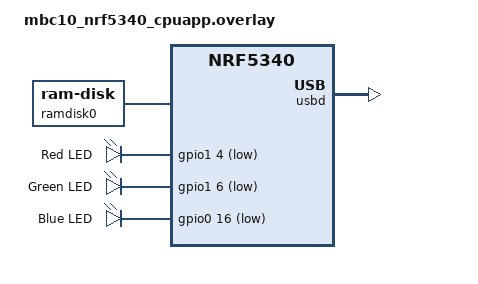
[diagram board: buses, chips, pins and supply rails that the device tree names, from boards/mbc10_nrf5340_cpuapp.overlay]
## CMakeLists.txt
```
# SPDX-License-Identifier: Apache-2.0

cmake_minimum_required(VERSION 3.20.0)
find_package(Zephyr REQUIRED HINTS $ENV{ZEPHYR_BASE})
project(capsense)

target_sources(
    app PRIVATE
        src/main.c
        src/sense.c
        src/ble.c
        src/usbms.c
        src/sample_usbd_init.c
        src/ble.c
        src/led.c
)

set(gen_dir ${ZEPHYR_BINARY_DIR}/include/generated/)

generate_inc_file_for_target(app data/LinkedIn.url ${gen_dir}/LinkedIn.url.inc)
generate_inc_file_for_target(app data/GitHub.url   ${gen_dir}/GitHub.url.inc)
generate_inc_file_for_target(app data/README.txt   ${gen_dir}/README.txt.inc)
generate_inc_file_for_target(app data/cv-2025.pdf  ${gen_dir}/cv.pdf.inc)
```

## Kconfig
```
menu "USB sample options"
	depends on USB_DEVICE_STACK_NEXT

config SAMPLE_USBD_MANUFACTURER
	string "USB device sample manufacturer string"
	default "MB"
	help
	  USB device sample manufacturer string.

config SAMPLE_USBD_PRODUCT
	string "USB device sample product string"
	default "Business Card"
	help
	  USB device sample product stringa.

config SAMPLE_USBD_PID
	hex "USB device sample Product ID"
	default 0x0001
	help
	  USB device sample Product ID.

config SAMPLE_USBD_SELF_POWERED
	bool "USB device sample Self-powered attribute"
	default y
	help
	  Set the Self-powered attribute in the sample configuration.

config SAMPLE_USBD_REMOTE_WAKEUP
	bool "USB device sample Remote Wakeup attribute"
	help
	  Set the Remote Wakeup attribute in the sample configuration.

config SAMPLE_USBD_MAX_POWER
	int "USB device sample bMaxPower value"
	default 125
	range 0 250
	help
	  bMaxPower value in the sample configuration in 2 mA units.

config SAMPLE_USBD_20_EXTENSION_DESC
	bool "Use default USB 2.0 Extension Descriptor"
	depends on USBD_BOS_SUPPORT
	help
	  Set bcdUSB value to 0201 and use default USB 2.0 Extension Descriptor.

endmenu


menu "MSC sample options"

config APP_WIPE_STORAGE
	bool "Option to clear the flash area before mounting"
	help
	  Use this to force an existing file system to be created.

choice
	prompt "Storage and file system type used by the application"
	default APP_MSC_STORAGE_NONE
	help
	  Specify the type of storage and file system.

config APP_MSC_STORAGE_NONE
	bool "Use RAM disk as block device"

config APP_MSC_STORAGE_RAM
	bool "Use RAM disk and FAT file system"
	imply FILE_SYSTEM
	imply FAT_FILESYSTEM_ELM

config APP_MSC_STORAGE_FLASH_FATFS
	bool "Use FLASH disk and FAT file system"
	imply DISK_DRIVER_FLASH
	imply FILE_SYSTEM
	imply FAT_FILESYSTEM_ELM

config APP_MSC_STORAGE_FLASH_LITTLEFS
	bool "Use FLASH disk and LittleFS"
	imply DISK_DRIVER_FLASH
	imply FILE_SYSTEM
	imply FILE_SYSTEM_LITTLEFS

config APP_MSC_STORAGE_SDCARD
	bool "Use SDHC and FAT file system"
	imply DISK_DRIVER_SDMMC
	imply FILE_SYSTEM
	imply FAT_FILESYSTEM_ELM

endchoice

config MASS_STORAGE_DISK_NAME
	default "NAND" if DISK_DRIVER_FLASH
	default "RAM" if DISK_DRIVER_RAM
	default "SD" if DISK_DRIVER_SDMMC

if DISK_DRIVER_FLASH

config FLASH_MAP
	default y

config FLASH_PAGE_LAYOUT
	default y

config FLASH_LOG_LEVEL
	default 3

if NORDIC_QSPI_NOR

config NORDIC_QSPI_NOR_FLASH_LAYOUT_PAGE_SIZE
	default 4096

endif # NORDIC_QSPI_NOR

endif # DISK_DRIVER_FLASH

endmenu

source "Kconfig.zephyr"
```

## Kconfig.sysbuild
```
# Copyright 2023-2024 Nordic Semiconductor ASA
# SPDX-License-Identifier: Apache-2.0

source "share/sysbuild/Kconfig"

config NET_CORE_BOARD
	string
	default "nrf5340dk/nrf5340/cpunet" if $(BOARD) = "nrf5340dk"
	default "nrf5340dk/nrf5340/cpunet" if $(BOARD) = "mbc10"

config NET_CORE_IMAGE_HCI_IPC
	bool "HCI IPC image on network core"
	default y
	depends on NET_CORE_BOARD != ""
```

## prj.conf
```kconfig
CONFIG_GPIO=y

CONFIG_LOG=y
CONFIG_SERIAL=y
CONFIG_CONSOLE=y
CONFIG_CONSOLE_SUBSYS=y
CONFIG_CONSOLE_GETLINE=y
CONFIG_UART_LINE_CTRL=y
CONFIG_UART_CONSOLE=y
CONFIG_STDOUT_CONSOLE=y
CONFIG_BOOT_BANNER=n
CONFIG_NCS_BOOT_BANNER=n

# ------ Bluetooth LE

CONFIG_BT=y
CONFIG_BT_MAX_CONN=3
CONFIG_BT_MAX_PAIRED=3
CONFIG_BT_SMP=y
CONFIG_BT_ATT_TX_COUNT=5
CONFIG_BT_PERIPHERAL=y
CONFIG_BT_DEVICE_NAME="MB Business Card"
CONFIG_BT_DEVICE_APPEARANCE=961
CONFIG_BT_LOG_LEVEL_WRN=y

CONFIG_BT_GATT_AUTO_SEC_REQ=n
CONFIG_BT_AUTO_PHY_UPDATE=n
CONFIG_BT_CONN_CTX=y

CONFIG_BT_HIDS=y
CONFIG_BT_HIDS_MAX_CLIENT_COUNT=3
CONFIG_BT_HIDS_DEFAULT_PERM_RW_AUTHEN=y
CONFIG_BT_HIDS_LOG_LEVEL_INF=y
CONFIG_BT_GATT_UUID16_POOL_SIZE=40
CONFIG_BT_GATT_CHRC_POOL_SIZE=20

CONFIG_SYSTEM_WORKQUEUE_STACK_SIZE=2048

CONFIG_SETTINGS=y
CONFIG_SETTINGS_NVS=y
CONFIG_BT_SETTINGS=y
CONFIG_NVS=y
CONFIG_FLASH=y
CONFIG_FLASH_PAGE_LAYOUT=y
CONFIG_FLASH_MAP=y

# ------ USBD virtual com

CONFIG_USB_DEVICE_STACK_NEXT=y
CONFIG_USBD_LOG_LEVEL_OFF=y
# CONFIG_USBD_CDC_ACM_CLASS=y
# CONFIG_UDC_BUF_POOL_SIZE=4096
# CONFIG_UDC_BUF_COUNT=32
CONFIG_UDC_DRIVER_LOG_LEVEL_OFF=y
# CONFIG_CDC_ACM_SERIAL_INITIALIZE_AT_BOOT=y
# CONFIG_CDC_ACM_SERIAL_PID=0x0004
# CONFIG_CDC_ACM_SERIAL_PRODUCT_STRING="MB Business Card"

CONFIG_LOG_BACKEND_UART=y

# ------ USBD mass storage

CONFIG_USBD_MSC_CLASS=y
CONFIG_USBD_MSC_LUNS_PER_INSTANCE=3

CONFIG_SAMPLE_USBD_PID=0x0008
CONFIG_SAMPLE_USBD_PRODUCT="MB Business Card"

CONFIG_HWINFO=y

CONFIG_DISK_ACCESS=y
CONFIG_DISK_DRIVERS=y

CONFIG_FILE_SYSTEM=y
CONFIG_FAT_FILESYSTEM_ELM=y
CONFIG_FS_FATFS_LFN=y

CONFIG_FPROTECT=n
```

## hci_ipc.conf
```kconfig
CONFIG_BT_EXT_ADV=y

CONFIG_BT_CTLR_PHY_CODED=y
CONFIG_BT_CTLR_ADV_DATA_LEN_MAX=36
CONFIG_BT_CTLR_TX_PWR_MINUS_8=y
CONFIG_BT_RX_STACK_SIZE=8192
```

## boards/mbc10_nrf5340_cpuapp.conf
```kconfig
CONFIG_PARTITION_MANAGER_ENABLED=n

CONFIG_APP_MSC_STORAGE_RAM=y

CONFIG_COMMON_LIBC_MALLOC_ARENA_SIZE=16384

CONFIG_CLOCK_CONTROL_NRF_K32SRC_RC=n
CONFIG_CLOCK_CONTROL_NRF_K32SRC_XTAL=y

CONFIG_LOG_BACKEND_RTT=y
CONFIG_RTT_CONSOLE=y
CONFIG_USE_SEGGER_RTT=y
CONFIG_SEGGER_RTT_BUFFER_SIZE_UP=8192
CONFIG_LOG_BUFFER_SIZE=8192
CONFIG_BT_RX_STACK_SIZE=8192
```

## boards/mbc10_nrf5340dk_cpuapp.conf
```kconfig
CONFIG_PARTITION_MANAGER_ENABLED=n

CONFIG_APP_MSC_STORAGE_RAM=y

CONFIG_COMMON_LIBC_MALLOC_ARENA_SIZE=16384

CONFIG_LOG_BACKEND_RTT=y
CONFIG_RTT_CONSOLE=y
CONFIG_USE_SEGGER_RTT=y
CONFIG_SEGGER_RTT_BUFFER_SIZE_UP=8192
CONFIG_LOG_BUFFER_SIZE=8192
```

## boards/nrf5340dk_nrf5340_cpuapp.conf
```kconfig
CONFIG_PARTITION_MANAGER_ENABLED=n

CONFIG_APP_MSC_STORAGE_RAM=y

CONFIG_COMMON_LIBC_MALLOC_ARENA_SIZE=16384
```

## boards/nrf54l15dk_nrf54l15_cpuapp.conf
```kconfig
CONFIG_CLOCK_CONTROL=y
CONFIG_CLOCK_CONTROL_NRF=y
CONFIG_CLOCK_CONTROL_NRF_K32SRC_RC=y
CONFIG_NFCT_PINS_AS_GPIOS=y

CONFIG_PARTITION_MANAGER_ENABLED=n

CONFIG_UART_CONSOLE=y
CONFIG_LOG_BACKEND_UART=y
CONFIG_LOG_DEFAULT_LEVEL=3
CONFIG_LOG=y
```

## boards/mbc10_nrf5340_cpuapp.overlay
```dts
/ {
	aliases {
		red-led = &led_r;
		green-led = &led_g;
		blue-led = &led_b;
	};

	chosen {
		zephyr,console = &cdc_acm_uart0;
        zephyr,bt-hci = &bt_hci_ipc0;
	};

	ramdisk0 {
		compatible = "zephyr,ram-disk";
		disk-name = "RAM";
		sector-size = <512>;
		sector-count = <192>;
	};

    leds {
		compatible = "gpio-leds";

		led_r: led_r {
			gpios = <&gpio1 4 GPIO_ACTIVE_LOW>;
			label = "Red LED";
		};

		led_g: led_g {
			gpios = <&gpio1 6 GPIO_ACTIVE_LOW>;
			label = "Green LED";
		};

		led_b: led_b {
			gpios = <&gpio0 16 GPIO_ACTIVE_LOW>;
			label = "Blue LED";
		};
	};
};

&vregmain {
	regulator-initial-mode = <NRF5X_REG_MODE_DCDC>;
};

&vregradio {
	regulator-initial-mode = <NRF5X_REG_MODE_DCDC>;
};

&vregh {
	status = "disabled";
};

&lfxo {
	load-capacitors = "internal";
	load-capacitance-picofarad = <7>;
};

&gpiote {
	status = "okay";
};

&gpio0 {
	status = "okay";
};

&gpio1 {
	status = "okay";
};

zephyr_udc0: &usbd {
	compatible = "nordic,nrf-usbd";
	status = "okay";
};

&zephyr_udc0 {
	cdc_acm_uart0: cdc_acm_uart0 {
		compatible = "zephyr,cdc-acm-uart";
	};
};

&nfct {
    status = "disabled";
};

&uicr {
	nfct-pins-as-gpios;
};
```

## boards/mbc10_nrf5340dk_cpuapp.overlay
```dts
/ {
	aliases {
		red-led = &led_r;
		green-led = &led_g;
		blue-led = &led_b;
	};

	chosen {
		zephyr,console = &cdc_acm_uart0;
	};

	ramdisk0 {
		compatible = "zephyr,ram-disk";
		disk-name = "RAM";
		sector-size = <512>;
		sector-count = <192>;
	};

	leds {
		compatible = "gpio-leds";

		led_r: led_r {
			gpios = <&gpio1 4 GPIO_ACTIVE_LOW>;
			label = "Red LED";
		};

		led_g: led_g {
			gpios = <&gpio1 6 GPIO_ACTIVE_LOW>;
			label = "Green LED";
		};

		led_b: led_b {
			gpios = <&gpio0 16 GPIO_ACTIVE_LOW>;
			label = "Blue LED";
		};
	};
};

&zephyr_udc0 {
	cdc_acm_uart0: cdc_acm_uart0 {
		compatible = "zephyr,cdc-acm-uart";
	};
};
```

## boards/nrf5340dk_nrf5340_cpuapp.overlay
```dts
/ {
	aliases {
		red-led = &led0;
		green-led = &led1;
		blue-led = &led3;
	};

	chosen {
		zephyr,console = &cdc_acm_uart0;
	};

	ramdisk0 {
		compatible = "zephyr,ram-disk";
		disk-name = "RAM";
		sector-size = <512>;
		sector-count = <192>;
	};
};

&zephyr_udc0 {
	cdc_acm_uart0: cdc_acm_uart0 {
		compatible = "zephyr,cdc-acm-uart";
	};
};
```

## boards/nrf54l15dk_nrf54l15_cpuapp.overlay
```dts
/ {
	aliases {
		led-pin = &led1;
	};
};
```

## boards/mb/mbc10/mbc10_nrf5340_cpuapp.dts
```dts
/dts-v1/;
#include <nordic/nrf5340_cpuapp_qkaa.dtsi>
#include "mbc10-pinctrl.dtsi"

/ {
	model = "Business Card v1.0 (CPUAPP)";
	compatible = "mb,mbc10-cpuapp";

	chosen {
		zephyr,sram = &sram0_image;
		zephyr,flash = &flash0;
		zephyr,code-partition = &slot0_partition;
		zephyr,sram-secure-partition = &sram0_s;
		zephyr,sram-non-secure-partition = &sram0_ns;
	};
};

#include "mbc10-cpuapp_partitioning.dtsi"
#include "mbc10-shared_sram.dtsi"
```

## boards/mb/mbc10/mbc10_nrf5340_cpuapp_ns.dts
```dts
/dts-v1/;
#include <nordic/nrf5340_cpuappns_qkaa.dtsi>
#include "mbc10-pinctrl.dtsi"

/ {
	model = "Business Card v1.0 (CPUAPP Non-Secure)";
	compatible = "mb,mbc10-cpuapp-ns";

	chosen {
		zephyr,sram = &sram0_ns;
		zephyr,flash = &flash0;
		zephyr,code-partition = &slot0_ns_partition;
	};
};

#include "mbc10-cpuapp_partitioning.dtsi"
#include "mbc10-shared_sram.dtsi"
```

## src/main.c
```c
/**
 * @file    main.c
 * @author  Matthijs Bakker
 * @date    2026-01-27
 * @brief   Application entry point
 */

#include <zephyr/kernel.h>
#include <zephyr/drivers/gpio.h>
#include <zephyr/logging/log.h>

#include "ble.h"
#include "led.h"
#include "sense.h"
#include "usbms.h"

#define CALIBRATION_RUNS            8
#define CALIBRATION_THRESHOLD       1.7
#define DEBOUNCING_THRESHOLD        4
#define MAX_SAMPLE_RETRIES          5

typedef struct {
	int analog_input;
	ble_hid_key_t emulated_key;

    uint32_t threshold;
    uint8_t debouncing_streak;
    bool pressed;
} touchpad_data_t;

static touchpad_data_t touchpad_data[] = {
#if CONFIG_BOARD_MBC10
	{
		.analog_input = COMP_PSEL_PSEL_AnalogInput0,
		.emulated_key = BLE_HID_KEY_PLAYPAUSE,
	},
	{
		.analog_input = COMP_PSEL_PSEL_AnalogInput3,
		.emulated_key = BLE_HID_KEY_VOLUME_DOWN,
	},
	{
		.analog_input = COMP_PSEL_PSEL_AnalogInput1,
		.emulated_key = BLE_HID_KEY_VOLUME_UP,
	},
	{
		.analog_input = COMP_PSEL_PSEL_AnalogInput5,
		.emulated_key = BLE_HID_KEY_MUTE,
	},
#else
	{
		.analog_input = COMP_PSEL_PSEL_AnalogInput3,
		.emulated_key = BLE_HID_KEY_VOLUME_UP,
	},
	{
		.analog_input = COMP_PSEL_PSEL_AnalogInput0,
		.emulated_key = BLE_HID_KEY_VOLUME_DOWN,
	},
	{
		.analog_input = COMP_PSEL_PSEL_AnalogInput1,
		.emulated_key = BLE_HID_KEY_PLAYPAUSE,
	},
#endif
};

static void sampling_thread(void);

K_THREAD_DEFINE(sampling_thread_id, 4096, sampling_thread, NULL, NULL, NULL, 10, 0, -1);

LOG_MODULE_REGISTER(main);

static void touchpad_state_changed(int index, const touchpad_data_t *data)
{
	static ble_key_input_t input = {0};

	input.button = data->emulated_key;
	input.button_pressed = data->pressed;

	if (data->pressed) {
		input.pressed_mask |= data->emulated_key;
	} else {
		input.pressed_mask &= ~(data->emulated_key);
	}

	LOG_INF("State change %d %02x", input.button, input.pressed_mask);

	ble_send_key_input(&input);

	if (data->pressed) {
		led_blink(LED_INDEX_BLUE, LED_SHORT_BLINK_DURATION);
	}
}

static void sampling_thread(void)
{
	uint32_t delta_time;
	bool touch_detected;
	int calibration_rounds_remaining = CALIBRATION_RUNS;
	int i;
	int retry = 0;
	int err;

	LOG_INF("Start sampling thread");

	while (true) {
		NRF_POWER->TASKS_CONSTLAT = 0;

		k_sleep(K_MSEC(9));
		
		NRF_POWER->TASKS_CONSTLAT = 1;

		for (i = 0; i < ARRAY_SIZE(touchpad_data); ++i) {
			err = sense_pin(touchpad_data[i].analog_input, &delta_time);

			if (delta_time < 20 || delta_time > 2000) {
				err = 69;
			}

			if (err) {
				if (retry++ < MAX_SAMPLE_RETRIES) {
					i -= 1;
					continue;
				}

				LOG_ERR("Failed to sample analog pin, err %d", err);
			}

			retry = 0;

			if (calibration_rounds_remaining) {
				touchpad_data[i].threshold += delta_time;
			} else {
				touch_detected = (delta_time > touchpad_data[i].threshold);

				if (touchpad_data[i].pressed != touch_detected) {
					LOG_DBG("Debounce %d %s %d", i, touch_detected ? "up" : "down", touchpad_data[i].debouncing_streak);
					
					if (++touchpad_data[i].debouncing_streak > DEBOUNCING_THRESHOLD) {
						touchpad_data[i].debouncing_streak = 0;
						touchpad_data[i].pressed = touch_detected;
						touchpad_state_changed(i, &touchpad_data[i]);
					}
				} else {
					touchpad_data[i].debouncing_streak = 0;
				}
			}
		}

		if (calibration_rounds_remaining > 0) {
			--calibration_rounds_remaining;

			// We just finished the last calibration round.
			// Calculate the arithmetic mean of the measured values.
			if (!calibration_rounds_remaining) {
				
				for (i = 0; i < ARRAY_SIZE(touchpad_data); ++i) {
					uint32_t prev = touchpad_data[i].threshold;
					touchpad_data[i].threshold /= CALIBRATION_RUNS;
					touchpad_data[i].threshold *= CALIBRATION_THRESHOLD;
					LOG_INF("Threshold of touchpad %d prev=%d set at %d", i, prev, touchpad_data[i].threshold);

					if (touchpad_data[i].threshold < 0 || touchpad_data[i].threshold > 2000) {
						touchpad_data[i].threshold = 250;
					}
				}
			}
		}
	}
}

int main(void)
{
	int err;

	LOG_INF("Start main");

	err = usbms_init();

	if (err) {
		LOG_ERR("Failed to init USB MS, err %d", err);
	}

	err = ble_init();

	if (err) {
		LOG_ERR("Failed to init BLE, err %d", err);
	}

	err = sense_init();

	if (!err) {
		k_thread_start(sampling_thread_id);
	} else {
		LOG_ERR("Failed to init sampling thread, err %d", err);
	}
	
	LOG_INF("Startup complete");

	led_blink(LED_INDEX_GREEN, LED_NORMAL_BLINK_DURATION);
}
```

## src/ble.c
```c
/**
 * @file    ble.c
 * @author  Matthijs Bakker
 * @date    2026-02-03
 * @brief   BLE Keyboard HID implementation
 * 
 * Adapted from 'sdk-nrf/peripheral_hids_keyboard', added support for media keys.
 */

#include "ble.h"

#include <zephyr/kernel.h>
#include <zephyr/logging/log.h>
#include <zephyr/settings/settings.h>

#include <zephyr/bluetooth/bluetooth.h>
#include <zephyr/bluetooth/hci.h>
#include <zephyr/bluetooth/conn.h>
#include <zephyr/bluetooth/uuid.h>
#include <zephyr/bluetooth/gatt.h>

#include <bluetooth/services/hids.h>

#include "led.h"

#define BASE_USB_HID_SPEC_VERSION   		0x0101
#define INPUT_REPORT_KEYS_MAX_LEN 			(1 + 1 + 6) // modifiers + reserved + keys[6]
#define INPUT_REPORT_CONSUMER_MAX_LEN		1
#define OUTPUT_REPORT_MAX_LEN            	1

// Report IDs
#define INPUT_REP_KEYS_REF_ID            	1
#define INPUT_REP_CONSUMER_REF_ID           2
#define OUTPUT_REP_KEYS_REF_ID           	0

// Internal report table indexes
#define OUTPUT_REP_KEYS_IDX					0
#define INPUT_REP_KEYS_IDX					0
#define INPUT_REP_CONSUMER_IDX				1

static const struct bt_data ad[] = {
	BT_DATA_BYTES(BT_DATA_GAP_APPEARANCE,
		      (CONFIG_BT_DEVICE_APPEARANCE >> 0) & 0xff,
		      (CONFIG_BT_DEVICE_APPEARANCE >> 8) & 0xff),
	BT_DATA_BYTES(BT_DATA_FLAGS, (BT_LE_AD_GENERAL | BT_LE_AD_NO_BREDR)),
	BT_DATA_BYTES(BT_DATA_UUID16_ALL, BT_UUID_16_ENCODE(BT_UUID_HIDS_VAL)),
};

static const struct bt_data sd[] = {
	BT_DATA(BT_DATA_NAME_COMPLETE, CONFIG_BT_DEVICE_NAME, (sizeof(CONFIG_BT_DEVICE_NAME) - 1)),
};

static struct conn_mode {
	struct bt_conn *conn;
	bool in_boot_mode;
} conn_mode[CONFIG_BT_HIDS_MAX_CLIENT_COUNT];

static struct k_work pairing_work;

struct pairing_data_mitm {
	struct bt_conn *conn;
	unsigned int passkey;
};

static bool alt_mode = false;

K_MSGQ_DEFINE(mitm_queue, sizeof(struct pairing_data_mitm), CONFIG_BT_HIDS_MAX_CLIENT_COUNT, 4);
K_MSGQ_DEFINE(input_queue, sizeof(ble_key_input_t), 10, 1);

BT_HIDS_DEF(hids_obj, OUTPUT_REPORT_MAX_LEN, INPUT_REPORT_KEYS_MAX_LEN, INPUT_REPORT_CONSUMER_MAX_LEN);

LOG_MODULE_REGISTER(ble);

static void advertising_start(void)
{
	const struct bt_le_adv_param *adv_param = BT_LE_ADV_PARAM(
						BT_LE_ADV_OPT_CONN,
						BT_GAP_ADV_FAST_INT_MIN_1,
						BT_GAP_ADV_FAST_INT_MAX_1,
						NULL);
	int err;

	err = bt_le_adv_start(adv_param, ad, ARRAY_SIZE(ad), sd, ARRAY_SIZE(sd));

	if (err) {
		if (err == -EALREADY) {
			LOG_INF("Advertising continued");
		} else {
			LOG_ERR("Advertising failed to start (err %d)", err);
		}

		return;
	}

	LOG_INF("Advertising successfully started");
}

static void pairing_process(struct k_work *work)
{
	struct pairing_data_mitm pairing_data;
	char addr[BT_ADDR_LE_STR_LEN];
	int err;

	err = k_msgq_peek(&mitm_queue, &pairing_data);

	if (err) {
		return;
	}

	bt_addr_le_to_str(bt_conn_get_dst(pairing_data.conn), addr, sizeof(addr));

	LOG_INF("Passkey for %s: %06u", addr, pairing_data.passkey);
	LOG_INF("Hold VOLUME UP + VOLUME DOWN simultaneously for 3 seconds to pair.");

	led_blink(LED_INDEX_GREEN, K_FOREVER);
}

static void connected(struct bt_conn *conn, uint8_t err)
{
	char addr[BT_ADDR_LE_STR_LEN];

	bt_addr_le_to_str(bt_conn_get_dst(conn), addr, sizeof(addr));

	if (err) {
		LOG_ERR("Failed to connect to %s 0x%02x %s", addr, err, bt_hci_err_to_str(err));
		return;
	}

	LOG_INF("Connected %s", addr);

	err = bt_hids_connected(&hids_obj, conn);

	if (err) {
		LOG_ERR("Failed to notify HID service about connection");
		return;
	}

	for (size_t i = 0; i < CONFIG_BT_HIDS_MAX_CLIENT_COUNT; i++) {
		if (!conn_mode[i].conn) {
			conn_mode[i].conn = conn;
			conn_mode[i].in_boot_mode = false;
			break;
		}
	}

	for (size_t i = 0; i < CONFIG_BT_HIDS_MAX_CLIENT_COUNT; i++) {
		if (!conn_mode[i].conn) {
			advertising_start();
			return;
		}
	}
}

static void disconnected(struct bt_conn *conn, uint8_t reason)
{
	bool is_any_dev_connected = false;
	char addr[BT_ADDR_LE_STR_LEN];
	int err;

	bt_addr_le_to_str(bt_conn_get_dst(conn), addr, sizeof(addr));

	LOG_INF("Disconnected from %s, reason 0x%02x %s", addr, reason, bt_hci_err_to_str(reason));

	err = bt_hids_disconnected(&hids_obj, conn);

	if (err) {
		LOG_ERR("Failed to notify HID service about disconnection");
	}

	for (size_t i = 0; i < CONFIG_BT_HIDS_MAX_CLIENT_COUNT; i++) {
		if (conn_mode[i].conn == conn) {
			conn_mode[i].conn = NULL;
		} else {
			if (conn_mode[i].conn) {
				is_any_dev_connected = true;
			}
		}
	}

	advertising_start();
}

static void security_changed(struct bt_conn *conn, bt_security_t level, enum bt_security_err err)
{
	char addr[BT_ADDR_LE_STR_LEN];

	bt_addr_le_to_str(bt_conn_get_dst(conn), addr, sizeof(addr));

	if (err) {
		LOG_ERR("Security failed: %s level %u err %d %s",
			    addr, level, err, bt_security_err_to_str(err));
	}

	LOG_INF("Security changed: %s level %u", addr, level);
}

BT_CONN_CB_DEFINE(conn_callbacks) = {
	.connected = connected,
	.disconnected = disconnected,
	.security_changed = security_changed,
};

static void hids_outp_rep_handler(struct bt_hids_rep *rep, struct bt_conn *conn, bool write)
{
	char addr[BT_ADDR_LE_STR_LEN];

	if (!write) {
		LOG_INF("Output report read");
		return;
	}

	bt_addr_le_to_str(bt_conn_get_dst(conn), addr, sizeof(addr));
	LOG_INF("Output report has been received %s", addr);
}

static void hids_boot_kb_outp_rep_handler(struct bt_hids_rep *rep, struct bt_conn *conn, bool write)
{
	char addr[BT_ADDR_LE_STR_LEN];

	if (!write) {
		LOG_INF("Output report read");
		return;
	}

	bt_addr_le_to_str(bt_conn_get_dst(conn), addr, sizeof(addr));
	LOG_INF("Boot Keyboard Output report has been received %s", addr);
}

static void hids_pm_evt_handler(enum bt_hids_pm_evt evt, struct bt_conn *conn)
{
	char addr[BT_ADDR_LE_STR_LEN];
	size_t i;

	for (i = 0; i < CONFIG_BT_HIDS_MAX_CLIENT_COUNT; i++) {
		if (conn_mode[i].conn == conn) {
			break;
		}
	}

	if (i >= CONFIG_BT_HIDS_MAX_CLIENT_COUNT) {
		LOG_ERR("Cannot find connection handle when processing PM");
		return;
	}

	bt_addr_le_to_str(bt_conn_get_dst(conn), addr, sizeof(addr));

	switch (evt) {
		case BT_HIDS_PM_EVT_BOOT_MODE_ENTERED:
			LOG_INF("Boot mode entered %s", addr);
			conn_mode[i].in_boot_mode = true;
			break;

		case BT_HIDS_PM_EVT_REPORT_MODE_ENTERED:
			LOG_INF("Report mode entered %s", addr);
			conn_mode[i].in_boot_mode = false;
			break;
		default:
			break;
	}
}

static void hid_init(void)
{
	struct bt_hids_init_param    hids_init_obj = { 0 };
	struct bt_hids_inp_rep       *hids_inp_rep;
	struct bt_hids_outp_feat_rep *hids_outp_rep;
	int err;

	static const uint8_t report_map[] = {
		0x05, 0x01,       /* Usage Page (Generic Desktop) */
		0x09, 0x06,       /* Usage (Keyboard) */
		0xA1, 0x01,       /* Collection (Application) */

		0x85, 0x01,       /* Report ID 1: Keyboard */
		0x05, 0x07,       /* Usage Page (Key Codes) */
		0x19, 0xe0,       /* Usage Minimum (224) */
		0x29, 0xe7,       /* Usage Maximum (231) */
		0x15, 0x00,       /* Logical Minimum (0) */
		0x25, 0x01,       /* Logical Maximum (1) */
		0x75, 0x01,       /* Report Size (1) */
		0x95, 0x08,       /* Report Count (8) */
		0x81, 0x02,       /* Input (Data, Variable, Absolute) */

		0x95, 0x01,       /* Report Count (1) */
		0x75, 0x08,       /* Report Size (8) */
		0x81, 0x01,       /* Input (Constant) reserved byte(1) */

		0x95, 0x06,       /* Report Count (6) */
		0x75, 0x08,       /* Report Size (8) */
		0x15, 0x00,       /* Logical Minimum (0) */
		0x25, 0x65,       /* Logical Maximum (101) */
		
		0x05, 0x07,       /* Usage Page (Key codes) */
		0x19, 0x00,       /* Usage Minimum (0) */
		0x29, 0x65,       /* Usage Maximum (101) */
		0x81, 0x00,       /* Input (Data, Array) Key array(6 bytes) */

		0x95, 0x05,       /* Report Count (5) */
		0x75, 0x01,       /* Report Size (1) */
		0x05, 0x08,       /* Usage Page (Page# for LEDs) */
		0x19, 0x01,       /* Usage Minimum (1) */
		0x29, 0x05,       /* Usage Maximum (5) */
		0x91, 0x02,       /* Output (Data, Variable, Absolute), */
		0x95, 0x01,       /* Report Count (1) */
		0x75, 0x03,       /* Report Size (3) */
		0x91, 0x01,       /* Output (Data, Variable, Absolute), */

		0xC0,             /* End Collection (Application) */

		0x05, 0x0C,        // Usage Page (Consumer)
		0x09, 0x01,        // Usage (Consumer Control)
		0xA1, 0x01,        // Collection (Application)

		0x85, 0x02,        /* Report ID 2: Consumer */
		0x15, 0x00,        //   Logical Minimum (0)
		0x25, 0x01,        //   Logical Maximum (1)

		0x09, 0xE2,        //   Usage (Mute)
		0x09, 0xCD,        //   Usage (Play/Pause)
		0x09, 0xE9,        //   Usage (Volume Increment)
		0x09, 0xEA,        //   Usage (Volume Decrement)

		0x75, 0x01,        //   Report Size (1)
		0x95, 0x04,        //   Report Count (4)
		0x81, 0x02,        //   Input (Data,Var,Abs)

		0x75, 0x01,        //   Report Size (1)
		0x95, 0x04,        //   Report Count (4)
		0x81, 0x01,        //   Input (Const,Arr,Abs) ; padding

		0xC0               // End Collection
	};

	hids_init_obj.rep_map.data = report_map;
	hids_init_obj.rep_map.size = sizeof(report_map);

	hids_init_obj.info.bcd_hid = BASE_USB_HID_SPEC_VERSION;
	hids_init_obj.info.b_country_code = 0x00;
	hids_init_obj.info.flags = (BT_HIDS_REMOTE_WAKE | BT_HIDS_NORMALLY_CONNECTABLE);

	hids_inp_rep = &hids_init_obj.inp_rep_group_init.reports[INPUT_REP_KEYS_IDX];
	hids_inp_rep->size = INPUT_REPORT_KEYS_MAX_LEN;
	hids_inp_rep->id = INPUT_REP_KEYS_REF_ID;
	hids_init_obj.inp_rep_group_init.cnt++;

	hids_inp_rep = &hids_init_obj.inp_rep_group_init.reports[INPUT_REP_CONSUMER_IDX];
	hids_inp_rep->size = INPUT_REPORT_CONSUMER_MAX_LEN;
	hids_inp_rep->id = INPUT_REP_CONSUMER_REF_ID;
	hids_init_obj.inp_rep_group_init.cnt++;

	hids_outp_rep = &hids_init_obj.outp_rep_group_init.reports[OUTPUT_REP_KEYS_IDX];
	hids_outp_rep->size = OUTPUT_REPORT_MAX_LEN;
	hids_outp_rep->id = OUTPUT_REP_KEYS_REF_ID;
	hids_outp_rep->handler = hids_outp_rep_handler;
	hids_init_obj.outp_rep_group_init.cnt++;

	hids_init_obj.is_kb = true;
	hids_init_obj.boot_kb_outp_rep_handler = hids_boot_kb_outp_rep_handler;
	hids_init_obj.pm_evt_handler = hids_pm_evt_handler;

	err = bt_hids_init(&hids_obj, &hids_init_obj);
	__ASSERT(err == 0, "HIDS initialization failed");
}

static void auth_passkey_display(struct bt_conn *conn, unsigned int passkey)
{
	char addr[BT_ADDR_LE_STR_LEN];

	bt_addr_le_to_str(bt_conn_get_dst(conn), addr, sizeof(addr));

	LOG_INF("Passkey for %s: %06u", addr, passkey);
}

static void auth_passkey_confirm(struct bt_conn *conn, unsigned int passkey)
{
	int err;

	struct pairing_data_mitm pairing_data;

	pairing_data.conn    = bt_conn_ref(conn);
	pairing_data.passkey = passkey;

	err = k_msgq_put(&mitm_queue, &pairing_data, K_NO_WAIT);

	if (err) {
		LOG_ERR("Pairing queue is full. Purge previous data.");
	}

	/* In the case of multiple pairing requests, trigger
	 * pairing confirmation which needed user interaction only
	 * once to avoid display information about all devices at
	 * the same time. Passkey confirmation for next devices will
	 * be proccess from queue after handling the earlier ones.
	 */
	if (k_msgq_num_used_get(&mitm_queue) == 1) {
		k_work_submit(&pairing_work);
	}
}

static void auth_cancel(struct bt_conn *conn)
{
	char addr[BT_ADDR_LE_STR_LEN];

	bt_addr_le_to_str(bt_conn_get_dst(conn), addr, sizeof(addr));

	LOG_INF("Pairing cancelled: %s", addr);
}

static void pairing_complete(struct bt_conn *conn, bool bonded)
{
	char addr[BT_ADDR_LE_STR_LEN];

	bt_addr_le_to_str(bt_conn_get_dst(conn), addr, sizeof(addr));

	LOG_INF("Pairing completed: %s, bonded: %d", addr, bonded);
	
	led_blink(LED_INDEX_GREEN, LED_LONG_BLINK_DURATION);
}

static void pairing_failed(struct bt_conn *conn, enum bt_security_err reason)
{
	char addr[BT_ADDR_LE_STR_LEN];
	struct pairing_data_mitm pairing_data;

	if (k_msgq_peek(&mitm_queue, &pairing_data) != 0) {
		return;
	}

	if (pairing_data.conn == conn) {
		bt_conn_unref(pairing_data.conn);
		k_msgq_get(&mitm_queue, &pairing_data, K_NO_WAIT);
	}

	bt_addr_le_to_str(bt_conn_get_dst(conn), addr, sizeof(addr));

	LOG_ERR("Pairing failed conn: %s, reason %d %s",
		    addr, reason, bt_security_err_to_str(reason));

	
	led_blink(LED_INDEX_GREEN, K_NO_WAIT);
	led_blink(LED_INDEX_RED,   LED_LONG_BLINK_DURATION);
}

static struct bt_conn_auth_cb conn_auth_callbacks = {
	.passkey_display = auth_passkey_display,
	.passkey_confirm = auth_passkey_confirm,
	.cancel = auth_cancel,
};

static struct bt_conn_auth_info_cb conn_auth_info_callbacks = {
	.pairing_complete = pairing_complete,
	.pairing_failed = pairing_failed
};

static int send_report_to_clients(uint8_t report_index, const uint8_t *data, size_t len)
{
	int i, err;

	for (i = 0; i < CONFIG_BT_HIDS_MAX_CLIENT_COUNT; i++) {
		if (conn_mode[i].conn) {
			if (conn_mode[i].in_boot_mode) {
				LOG_WRN("Connection %d in boot mode, skipping media report", i);
				continue;
			}

			err = bt_hids_inp_rep_send(&hids_obj, conn_mode[i].conn, report_index, data, len, NULL);

			if (err) {
				LOG_ERR("Key report send error: %d", err);
				return err;
			}
		}
	}

	return 0;
}

static int navigation_report_send(ble_hid_key_t pressed_keys)
{
	uint8_t data[INPUT_REPORT_KEYS_MAX_LEN] = {0};

	if (pressed_keys & BLE_HID_KEY_VOLUME_UP) {
		data[2] = 0x52; // up
	}
	
	if (pressed_keys & BLE_HID_KEY_VOLUME_DOWN) {
		data[3] = 0x51; // down
	}
	
	if (pressed_keys & BLE_HID_KEY_PLAYPAUSE) {
		data[4] = 0x50; // left
	}
	
	if (pressed_keys & BLE_HID_KEY_MUTE) {
		data[5] = 0x4f; // right
	}
	
	LOG_HEXDUMP_INF(data, INPUT_REPORT_KEYS_MAX_LEN, "Navigation report data");

	return send_report_to_clients(INPUT_REP_KEYS_IDX, data, sizeof(data));
}

static int media_report_send(ble_hid_key_t pressed_keys)
{
	uint8_t data[INPUT_REPORT_CONSUMER_MAX_LEN];

	data[0] = pressed_keys;
	
	LOG_HEXDUMP_INF(data, INPUT_REPORT_CONSUMER_MAX_LEN, "Media controls report");

	return send_report_to_clients(INPUT_REP_CONSUMER_IDX, data, sizeof(data));
}

static void num_comp_reply(bool accept)
{
	struct pairing_data_mitm pairing_data;
	struct bt_conn *conn;

	if (k_msgq_get(&mitm_queue, &pairing_data, K_NO_WAIT) != 0) {
		return;
	}

	conn = pairing_data.conn;

	if (accept) {
		bt_conn_auth_passkey_confirm(conn);
		LOG_INF("Numeric Match, conn %p", conn);
	} else {
		bt_conn_auth_cancel(conn);
		LOG_INF("Numeric Reject, conn %p", conn);
	}

	bt_conn_unref(pairing_data.conn);

	if (k_msgq_num_used_get(&mitm_queue)) {
		k_work_submit(&pairing_work);
	}
}

static void input_thread(void)
{
    ble_key_input_t input;
	k_timeout_t timeout = K_FOREVER;
	int err;

    while (true) {
        err = k_msgq_get(&input_queue, &input, timeout);

		timeout = K_FOREVER;

		if (err == -EAGAIN) {
			if (input.pressed_mask == BLE_HID_KEY_MUTE) {
				LOG_WRN("Switch to %s mode", alt_mode ? "media" : "nav");

				alt_mode ^= 1;

				navigation_report_send(0);
				media_report_send(0);

				led_blink(LED_INDEX_GREEN, LED_SHORT_BLINK_DURATION);
			} else {
				LOG_WRN("Accept pairing");

				if (k_msgq_num_used_get(&mitm_queue)) {
					num_comp_reply(true);
				}
			}
			continue;
		}

		if (input.pressed_mask == (BLE_HID_KEY_VOLUME_UP | BLE_HID_KEY_VOLUME_DOWN)) {
			timeout = K_SECONDS(3);
			continue;
		}

		if (input.pressed_mask == BLE_HID_KEY_MUTE) {
			timeout = K_SECONDS(3);
			LOG_ERR("Await timeout");
		}

		if (alt_mode) {
			navigation_report_send(input.pressed_mask);
		} else {
			media_report_send(input.pressed_mask);
		}
    }
}

int ble_init(void)
{
	int err;

	err = bt_conn_auth_cb_register(&conn_auth_callbacks);

	if (err) {
		LOG_ERR("Failed to register authorization callbacks.");
		return 0;
	}

	err = bt_conn_auth_info_cb_register(&conn_auth_info_callbacks);

	if (err) {
		LOG_ERR("Failed to register authorization info callbacks.");
		return 0;
	}

	hid_init();

	err = bt_enable(NULL);

	if (err) {
		LOG_ERR("Bluetooth init failed (err %d)", err);
		return 0;
	}

	LOG_INF("Bluetooth initialized");

	if (IS_ENABLED(CONFIG_SETTINGS)) {
		settings_load();
	}

	advertising_start();

	k_work_init(&pairing_work, pairing_process);

	return 0;
}

void ble_send_key_input(const ble_key_input_t *input)
{
    k_msgq_put(&input_queue, input, K_NO_WAIT);
}

K_THREAD_DEFINE(input_thread_id, 2048, input_thread, NULL, NULL, NULL, 14, 0, 0);
```

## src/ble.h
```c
/**
 * @file    ble.h
 * @author  Matthijs Bakker
 * @date    2026-02-03
 * @brief   BLE Keyboard HID implementation
 */

#include <stdint.h>
#include <stdbool.h>

/**
 * Keyboard key index.
 * 
 * The positions of these bits must match their positions in the HID report (see ble.c).
 */
typedef enum {
    BLE_HID_KEY_MUTE        = (1 << 0),
    BLE_HID_KEY_PLAYPAUSE   = (1 << 1),
    BLE_HID_KEY_VOLUME_UP   = (1 << 2),
    BLE_HID_KEY_VOLUME_DOWN = (1 << 3),
} ble_hid_key_t;

/**
 * Message which indicates which key was most recently pressed/released,
 * and the mask of all currently pressed keys.
 */
typedef struct {
    int button;
    bool button_pressed;
    ble_hid_key_t pressed_mask;
} ble_key_input_t;

/**
 * Initialize the Bluetooth subsystem + keyboard HIDS.
 * 
 * @returns 0 on success,
 *          >0 on failure
 */
int ble_init(void);

/**
 * Send the updated key input to all connected clients.
 * 
 * @param input An input object with the latest pressed/released
 *              key and a map of all currently pressed keys.
 */
void ble_send_key_input(const ble_key_input_t *input);
```

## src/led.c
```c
/**
 * @file    led.c
 * @author  Matthijs Bakker
 * @date    2026-02-07
 * @brief   LEDs control
 */

#include "led.h"

#include <zephyr/logging/log.h>

#define LED_DEFINE(name, _index) \
    K_MSGQ_DEFINE(name ## _led_msgq, sizeof(k_timeout_t), 10, 1); \
    static const led_data_t name ## _led_data = { \
        .gpio_spec = GPIO_DT_SPEC_GET(DT_ALIAS(name ## _led), gpios), \
        .index = _index, \
        .msgq = & name ## _led_msgq, \
    }; \
    K_THREAD_DEFINE(name ## _led_thread_id, 4096, led_thread, &name ## _led_data, NULL, NULL, 12, 0, 1);

static const led_data_t *led_data[__LED_INDEX_MAX];

LOG_MODULE_REGISTER(led);

static void led_thread(void *data_p)
{
    const led_data_t *data = data_p;
    k_timeout_t timeout, blink_rate = K_FOREVER;
    int err;

    led_data[data->index] = data;

    if (!gpio_is_ready_dt(&data->gpio_spec)) {
        LOG_ERR("LED %d thread: gpio not ready", data->index);
        k_sleep(K_FOREVER);
    }

    err = gpio_pin_configure_dt(&data->gpio_spec, GPIO_OUTPUT_INACTIVE);

    if (err < 0) {
        LOG_ERR("Failed to configure led %d gpio, err %d", data->index, err);
        k_sleep(K_FOREVER);
    }

    while (true) {
        err = k_msgq_get(data->msgq, &timeout, blink_rate);

        if (err && err != -EAGAIN) {
            LOG_ERR("Failed to get from msgq, err %d", err);
            continue;
        }

        if (err != -EAGAIN) {
            switch (timeout.ticks) {
                case 0:
                    blink_rate = K_FOREVER;
                    continue;
                case SYS_FOREVER_MS:
                    blink_rate = timeout = LED_SHORT_BLINK_DURATION;
                    break;
                default:
                    blink_rate = K_FOREVER;
                    break;
            }
        }

        gpio_pin_set_dt(&data->gpio_spec, 1);

        k_sleep(timeout);
        
        gpio_pin_set_dt(&data->gpio_spec, 0);
    }
}

int led_blink(led_index_t index, k_timeout_t timeout)
{
    const led_data_t *data;
    int i;

    for (i = 0; i < ARRAY_SIZE(led_data); ++i) {
        data = led_data[i];

        if (data->index == index) {
            k_msgq_put(data->msgq, &timeout, K_NO_WAIT);
            return 0;
        }
    }

    LOG_ERR("No LED found with index %d", index);

    return 1;
}

LED_DEFINE(red,   LED_INDEX_RED);
LED_DEFINE(green, LED_INDEX_GREEN);
LED_DEFINE(blue,  LED_INDEX_BLUE);
```

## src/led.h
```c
/**
 * @file    led.h
 * @author  Matthijs Bakker
 * @date    2026-02-07
 * @brief   LEDs control
 */

#include <zephyr/kernel.h>
#include <zephyr/drivers/gpio.h>

#define LED_SHORT_BLINK_DURATION    K_MSEC(100)
#define LED_NORMAL_BLINK_DURATION   K_MSEC(500)
#define LED_LONG_BLINK_DURATION     K_MSEC(2000)

typedef enum {
	LED_INDEX_RED,
	LED_INDEX_GREEN,
	LED_INDEX_BLUE,

    __LED_INDEX_MAX,
} led_index_t;

typedef struct {
	const struct gpio_dt_spec gpio_spec;
    struct k_msgq *msgq;
	led_index_t index;
} led_data_t;

int led_blink(led_index_t index, k_timeout_t timeout);
```

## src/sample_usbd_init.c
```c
/*
 * Copyright (c) 2023 Nordic Semiconductor ASA
 *
 * SPDX-License-Identifier: Apache-2.0
 */

#include <stdint.h>

#include <zephyr/device.h>
#include <zephyr/usb/usbd.h>
#include <zephyr/usb/bos.h>

#include <zephyr/logging/log.h>
LOG_MODULE_REGISTER(usbd_sample_config);

#define ZEPHYR_PROJECT_USB_VID		0x2fe3

/* By default, do not register the USB DFU class DFU mode instance. */
static const char *const blocklist[] = {
	"dfu_dfu",
	NULL,
};

/* doc device instantiation start */
/*
 * Instantiate a context named sample_usbd using the default USB device
 * controller, the Zephyr project vendor ID, and the sample product ID.
 * Zephyr project vendor ID must not be used outside of Zephyr samples.
 */
USBD_DEVICE_DEFINE(sample_usbd,
		   DEVICE_DT_GET(DT_NODELABEL(zephyr_udc0)),
		   ZEPHYR_PROJECT_USB_VID, CONFIG_SAMPLE_USBD_PID);
/* doc device instantiation end */

/* doc string instantiation start */
USBD_DESC_LANG_DEFINE(sample_lang);
USBD_DESC_MANUFACTURER_DEFINE(sample_mfr, CONFIG_SAMPLE_USBD_MANUFACTURER);
USBD_DESC_PRODUCT_DEFINE(sample_product, CONFIG_SAMPLE_USBD_PRODUCT);
IF_ENABLED(CONFIG_HWINFO, (USBD_DESC_SERIAL_NUMBER_DEFINE(sample_sn)));

/* doc string instantiation end */

USBD_DESC_CONFIG_DEFINE(fs_cfg_desc, "FS Configuration");
USBD_DESC_CONFIG_DEFINE(hs_cfg_desc, "HS Configuration");

/* doc configuration instantiation start */
static const uint8_t attributes = (IS_ENABLED(CONFIG_SAMPLE_USBD_SELF_POWERED) ?
				   USB_SCD_SELF_POWERED : 0) |
				  (IS_ENABLED(CONFIG_SAMPLE_USBD_REMOTE_WAKEUP) ?
				   USB_SCD_REMOTE_WAKEUP : 0);

/* Full speed configuration */
USBD_CONFIGURATION_DEFINE(sample_fs_config,
			  attributes,
			  CONFIG_SAMPLE_USBD_MAX_POWER, &fs_cfg_desc);

/* High speed configuration */
USBD_CONFIGURATION_DEFINE(sample_hs_config,
			  attributes,
			  CONFIG_SAMPLE_USBD_MAX_POWER, &hs_cfg_desc);
/* doc configuration instantiation end */

#if CONFIG_SAMPLE_USBD_20_EXTENSION_DESC
/*
 * This does not yet provide valuable information, but rather serves as an
 * example, and will be improved in the future.
 */
static const struct usb_bos_capability_lpm bos_cap_lpm = {
	.bLength = sizeof(struct usb_bos_capability_lpm),
	.bDescriptorType = USB_DESC_DEVICE_CAPABILITY,
	.bDevCapabilityType = USB_BOS_CAPABILITY_EXTENSION,
	.bmAttributes = 0UL,
};

USBD_DESC_BOS_DEFINE(sample_usbext, sizeof(bos_cap_lpm), &bos_cap_lpm);
#endif

static void sample_fix_code_triple(struct usbd_context *uds_ctx,
				   const enum usbd_speed speed)
{
	/* Always use class code information from Interface Descriptors */
	if (IS_ENABLED(CONFIG_USBD_CDC_ACM_CLASS) ||
	    IS_ENABLED(CONFIG_USBD_CDC_ECM_CLASS) ||
	    IS_ENABLED(CONFIG_USBD_CDC_NCM_CLASS) ||
	    IS_ENABLED(CONFIG_USBD_MIDI2_CLASS) ||
	    IS_ENABLED(CONFIG_USBD_AUDIO2_CLASS) ||
	    IS_ENABLED(CONFIG_USBD_VIDEO_CLASS)) {
		/*
		 * Class with multiple interfaces have an Interface
		 * Association Descriptor available, use an appropriate triple
		 * to indicate it.
		 */
		usbd_device_set_code_triple(uds_ctx, speed,
					    USB_BCC_MISCELLANEOUS, 0x02, 0x01);
	} else {
		usbd_device_set_code_triple(uds_ctx, speed, 0, 0, 0);
	}
}

struct usbd_context *sample_usbd_setup_device(usbd_msg_cb_t msg_cb)
{
	int err;

	/* doc add string descriptor start */
	err = usbd_add_descriptor(&sample_usbd, &sample_lang);
	if (err) {
		LOG_ERR("Failed to initialize language descriptor (%d)", err);
		return NULL;
	}

	err = usbd_add_descriptor(&sample_usbd, &sample_mfr);
	if (err) {
		LOG_ERR("Failed to initialize manufacturer descriptor (%d)", err);
		return NULL;
	}

	err = usbd_add_descriptor(&sample_usbd, &sample_product);
	if (err) {
		LOG_ERR("Failed to initialize product descriptor (%d)", err);
		return NULL;
	}

	IF_ENABLED(CONFIG_HWINFO, (
		err = usbd_add_descriptor(&sample_usbd, &sample_sn);
	))
	if (err) {
		LOG_ERR("Failed to initialize SN descriptor (%d)", err);
		return NULL;
	}
	/* doc add string descriptor end */

	if (USBD_SUPPORTS_HIGH_SPEED &&
	    usbd_caps_speed(&sample_usbd) == USBD_SPEED_HS) {
		err = usbd_add_configuration(&sample_usbd, USBD_SPEED_HS,
					     &sample_hs_config);
		if (err) {
			LOG_ERR("Failed to add High-Speed configuration");
			return NULL;
		}

		err = usbd_register_all_classes(&sample_usbd, USBD_SPEED_HS, 1,
						blocklist);
		if (err) {
			LOG_ERR("Failed to add register classes");
			return NULL;
		}

		sample_fix_code_triple(&sample_usbd, USBD_SPEED_HS);
	}

	/* doc configuration register start */
	err = usbd_add_configuration(&sample_usbd, USBD_SPEED_FS,
				     &sample_fs_config);
	if (err) {
		LOG_ERR("Failed to add Full-Speed configuration");
		return NULL;
	}
	/* doc configuration register end */

	/* doc functions register start */
	err = usbd_register_all_classes(&sample_usbd, USBD_SPEED_FS, 1, blocklist);
	if (err) {
		LOG_ERR("Failed to add register classes, err %d", err);
		return NULL;
	}
	/* doc functions register end */

	sample_fix_code_triple(&sample_usbd, USBD_SPEED_FS);
	usbd_self_powered(&sample_usbd, attributes & USB_SCD_SELF_POWERED);

	if (msg_cb != NULL) {
		/* doc device init-and-msg start */
		err = usbd_msg_register_cb(&sample_usbd, msg_cb);
		if (err) {
			LOG_ERR("Failed to register message callback");
			return NULL;
		}
		/* doc device init-and-msg end */
	}

#if CONFIG_SAMPLE_USBD_20_EXTENSION_DESC
	(void)usbd_device_set_bcd_usb(&sample_usbd, USBD_SPEED_FS, 0x0201);
	(void)usbd_device_set_bcd_usb(&sample_usbd, USBD_SPEED_HS, 0x0201);

	err = usbd_add_descriptor(&sample_usbd, &sample_usbext);
	if (err) {
		LOG_ERR("Failed to add USB 2.0 Extension Descriptor");
		return NULL;
	}
#endif

	return &sample_usbd;
}

struct usbd_context *sample_usbd_init_device(usbd_msg_cb_t msg_cb)
{
	int err;

	if (sample_usbd_setup_device(msg_cb) == NULL) {
		return NULL;
	}

	/* doc device init start */
	err = usbd_init(&sample_usbd);
	if (err) {
		LOG_ERR("Failed to initialize device support");
		return NULL;
	}
	/* doc device init end */

	return &sample_usbd;
}
```

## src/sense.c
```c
/**
 * @file    sense.c
 * @author  Matthijs Bakker
 * @date    2026-02-02
 * @brief   
 */

#include <zephyr/kernel.h>
#include <zephyr/logging/log.h>
#include <nrfx.h>

K_SEM_DEFINE(sample_ready_sem, 0, 1);

LOG_MODULE_REGISTER(sense);

ISR_DIRECT_DECLARE(sample_ready_isr)
{
	if (NRF_COMP->EVENTS_CROSS) {
		NRF_COMP->EVENTS_CROSS = 0;

		LOG_DBG("Cross");

		k_sem_give(&sample_ready_sem);
		
		ISR_DIRECT_PM();
		return 1;
	}
	
	ISR_DIRECT_PM();
	return 0;
}

static void timer_overrun_isr(void *arg)
{
	ARG_UNUSED(arg);

	if (NRF_TIMER1->EVENTS_COMPARE[1]) {
		NRF_TIMER1->EVENTS_COMPARE[1] = 0;
		NRF_TIMER1->TASKS_STOP = 1;
		
		LOG_ERR("Timer overrun!");
	}
}

int sense_pin(int pin, uint32_t *value)
{
    int err;

    NRF_TIMER1->TASKS_STOP = 1;
	NRF_TIMER1->TASKS_CLEAR = 1;
	
	NRF_DPPIC->TASKS_CHG[0].EN = 1;

	NRF_COMP->PSEL = (pin << COMP_PSEL_PSEL_Pos);
	NRF_COMP->ENABLE = (COMP_ENABLE_ENABLE_Enabled << COMP_ENABLE_ENABLE_Pos);
	NRF_COMP->TASKS_START = 1;

	// Await two COMP crossings before the wave period is in timer capture compare register

	err = k_sem_take(&sample_ready_sem, K_MSEC(5));

    if (err) {
        LOG_DBG("Failed to capture first crossing, err %d", err);
        return 2;
    }

	err = k_sem_take(&sample_ready_sem, K_MSEC(5));

    if (err) {
        LOG_ERR("Failed to capture second crossing, err %d", err);
        return 3;
    }

	*value = NRF_TIMER1->CC[0];

    return 0;
}

int sense_init(void)
{
	NRF_COMP->REFSEL   = (COMP_REFSEL_REFSEL_VDD << COMP_REFSEL_REFSEL_Pos);
    NRF_COMP->TH       = (5 << COMP_TH_THDOWN_Pos) | (60 << COMP_TH_THUP_Pos);
    NRF_COMP->MODE     = (COMP_MODE_MAIN_SE << COMP_MODE_MAIN_Pos) | (COMP_MODE_SP_High << COMP_MODE_SP_Pos);
    NRF_COMP->ISOURCE  = (COMP_ISOURCE_ISOURCE_Ien10mA << COMP_ISOURCE_ISOURCE_Pos);
    NRF_COMP->INTENSET = COMP_INTEN_CROSS_Msk;

	NRF_TIMER1->PRESCALER   = 0;
    NRF_TIMER1->BITMODE     = (TIMER_BITMODE_BITMODE_16Bit << TIMER_BITMODE_BITMODE_Pos);
    NRF_TIMER1->CC[1]       = 1000*16;
    NRF_TIMER1->SHORTS      = (TIMER_SHORTS_COMPARE1_CLEAR_Msk | TIMER_SHORTS_COMPARE1_STOP_Msk);
    NRF_TIMER1->INTENSET    = TIMER_INTENSET_COMPARE1_Msk;
    NRF_TIMER1->TASKS_CLEAR = 1;

	// Channel group 0 is for the initial V_{in} crossing event
	// Channel group 1 is for the termination crossing event

	NRF_COMP->PUBLISH_CROSS  = (0 << COMP_PUBLISH_CROSS_CHIDX_Pos)  | COMP_PUBLISH_CROSS_EN_Msk;
	NRF_COMP->PUBLISH_UP     = (1 << COMP_PUBLISH_UP_CHIDX_Pos)     | COMP_PUBLISH_UP_EN_Msk;
	NRF_COMP->PUBLISH_DOWN   = (1 << COMP_PUBLISH_DOWN_CHIDX_Pos)   | COMP_PUBLISH_DOWN_EN_Msk;
	NRF_COMP->SUBSCRIBE_STOP = (1 << COMP_SUBSCRIBE_STOP_CHIDX_Pos) | COMP_SUBSCRIBE_STOP_EN_Msk;

	NRF_TIMER1->SUBSCRIBE_START      = (0 << TIMER_SUBSCRIBE_START_CHIDX_Pos) | TIMER_SUBSCRIBE_START_EN_Msk;
	NRF_TIMER1->SUBSCRIBE_CAPTURE[0] = (1 << TIMER_SUBSCRIBE_CAPTURE_CHIDX_Pos) | TIMER_SUBSCRIBE_CAPTURE_EN_Msk;
	NRF_TIMER1->SUBSCRIBE_STOP       = (1 << TIMER_SUBSCRIBE_STOP_CHIDX_Pos) | TIMER_SUBSCRIBE_STOP_EN_Msk;

	NRF_DPPIC->CHG[0] = (DPPIC_CHG_CH0_Included << DPPIC_CHG_CH0_Pos);
	NRF_DPPIC->CHG[1] = (DPPIC_CHG_CH1_Included << DPPIC_CHG_CH1_Pos);

	NRF_DPPIC->SUBSCRIBE_CHG[0].DIS = (0 << DPPIC_SUBSCRIBE_CHG_DIS_CHIDX_Pos) | DPPIC_SUBSCRIBE_CHG_DIS_EN_Msk;
	NRF_DPPIC->SUBSCRIBE_CHG[1].EN  = (0 << DPPIC_SUBSCRIBE_CHG_EN_CHIDX_Pos)  | DPPIC_SUBSCRIBE_CHG_EN_EN_Msk;
	NRF_DPPIC->SUBSCRIBE_CHG[1].DIS = (1 << DPPIC_SUBSCRIBE_CHG_DIS_CHIDX_Pos) | DPPIC_SUBSCRIBE_CHG_DIS_EN_Msk;

	IRQ_DIRECT_CONNECT(COMP_LPCOMP_IRQn, 3, sample_ready_isr, 0);
	irq_enable(COMP_LPCOMP_IRQn);

	IRQ_CONNECT(TIMER1_IRQn, 3, timer_overrun_isr, NULL, 0);
	irq_enable(TIMER1_IRQn);

	return 0;
}
```

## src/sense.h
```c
/**
 * @file    sense.h
 * @author  Matthijs Bakker
 * @date    2026-02-02
 * @brief   
 */

#include <stdint.h>
#include <stdbool.h>

/**
 * Blocking function to measure capacitance on the specified pin.
 * 
 * @param pin    x, where x is AINx (x in [0, 7])
 * @param value  location to store the measured value
 * 
 * @returns 0 on success,
 *          >0 on failure
 */
int sense_pin(int pin, uint32_t *value);

/**
 * Initialize the capacitive sensing system.
 * 
 * @returns 0 on success,
 *          >0 on failure
 */
int sense_init(void);
```

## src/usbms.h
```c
/**
 * @file    usbms.h
 * @author  Matthijs Bakker
 * @date    2026-02-04
 * @brief   USB Mass Storage RAM Disk
 */

#include <stdint.h>

/**
 * Initialize the USB device + ramdisk.
 * 
 * @returns 0 on success,
 *          >0 on failure
 */
int usbms_init(void);
```
